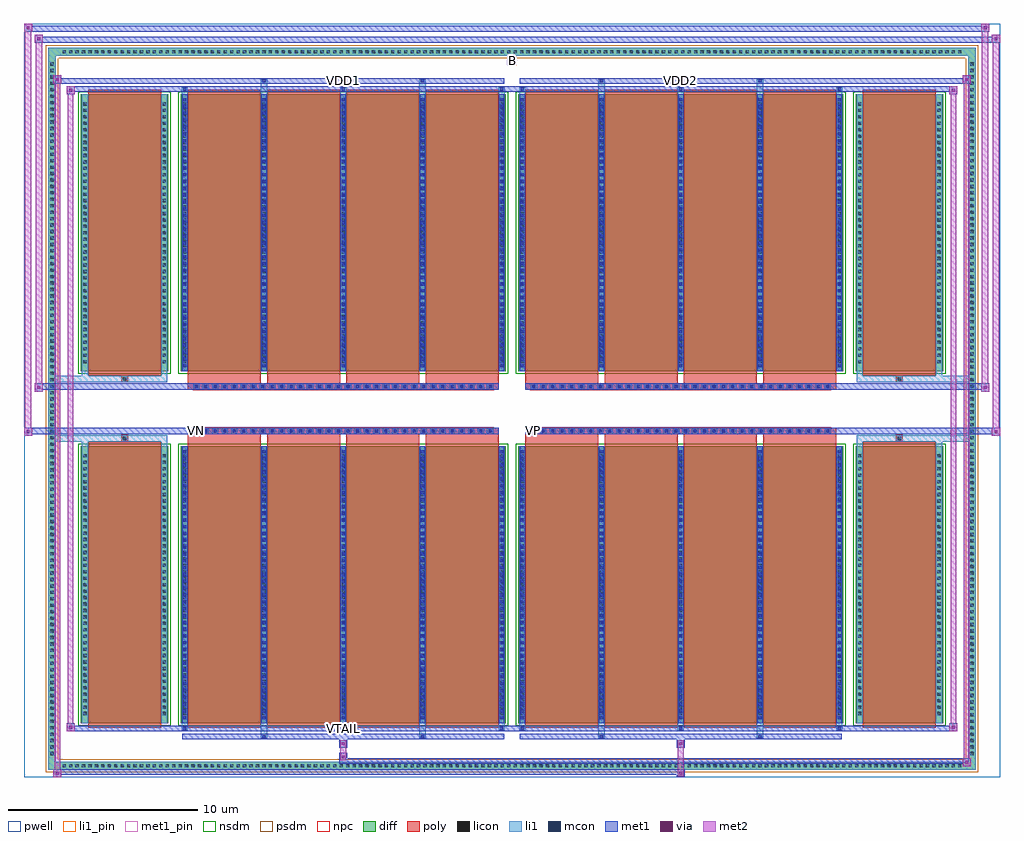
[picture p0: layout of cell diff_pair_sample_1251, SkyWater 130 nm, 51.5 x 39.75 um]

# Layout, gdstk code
import gdstk
lib = gdstk.Library(unit=1e-6, precision=5e-09)
def R(c, l, rs):  # rectangles x0, y0, x1, y1
    for r in rs: c.add(gdstk.rectangle(r[:2], r[2:], *l))
def A(c, l, x, y, w, h, nx, ny, dx, dy):  # array of equal rectangles
    R(c, l, [(x+i*dx, y+j*dy, x+i*dx+w, y+j*dy+h) for i in range(nx) for j in range(ny)])
def P(c, l, *ps):  # polygons
    for p in ps: c.add(gdstk.Polygon(p, *l))
pwell = (64, 44)
diff = (65, 20)
poly = (66, 20)
licon = (66, 44)
li1_pin = (67, 16)
li1 = (67, 20)
mcon = (67, 44)
met1_pin = (68, 16)
met1 = (68, 20)
via = (68, 44)
met2 = (69, 20)
nsdm = (93, 44)
psdm = (94, 20)
npc = (95, 20)

diff_pair_sample_1251 = lib.new_cell('diff_pair_sample_1251')
R(diff_pair_sample_1251, pwell, [(-25.75,-19.44,25.75,20.31), (-23.07,-17.63,-0.01,-0.805), (0.01,-17.63,23.07,-0.805), (-23.07,0.805,-0.01,17.63), (0.01,0.805,23.07,17.63)])
A(diff_pair_sample_1251, diff, -23.835, -19.04, 0.41, 0.41, 140, 2, 0.34, 37.67)
A(diff_pair_sample_1251, diff, -24.48, -18.395, 0.41, 0.41, 1, 108, 0, 0.34)
A(diff_pair_sample_1251, diff, 24.07, -18.395, 0.41, 0.41, 1, 108, 0, 0.34)
R(diff_pair_sample_1251, diff, [(-23.835,-19.04,23.835,-18.63), (-24.48,-18.395,-24.07,18.395), (24.07,-18.395,24.48,18.395), (-22.76,-16.585,-18.13,-1.985), (-17.49,-16.585,-0.32,-1.985), (0.32,-16.585,17.49,-1.985), (18.13,-16.585,22.76,-1.985), (-22.76,1.985,-18.13,16.585), (-17.49,1.985,-0.32,16.585), (0.32,1.985,17.49,16.585), (18.13,1.985,22.76,16.585), (-23.835,18.63,23.835,19.04)])
P(diff_pair_sample_1251, diff, [(24.48,19.04),(-24.48,19.04),(-24.48,-18.63),(-24.07,-18.63),(-24.07,18.63),(24.07,18.63),(24.07,-18.63),(-24.07,-18.63),(-24.48,-18.63),(-24.48,-19.04),(24.48,-19.04)])
A(diff_pair_sample_1251, poly, -17.1, -16.835, 3.85, 15.1, 4, 2, 4.18, 18.57)
A(diff_pair_sample_1251, poly, 0.71, -16.835, 3.85, 15.1, 4, 2, 4.18, 18.57)
A(diff_pair_sample_1251, poly, -17.1, -1.735, 3.85, 0.4, 4, 2, 4.18, 3.07)
A(diff_pair_sample_1251, poly, 0.71, -1.735, 3.85, 0.4, 4, 2, 4.18, 3.07)
A(diff_pair_sample_1251, poly, -16.82, -1.335, 0.33, 0.33, 32, 2, 0.5, 2.34)
A(diff_pair_sample_1251, poly, 0.99, -1.335, 0.33, 0.33, 32, 2, 0.5, 2.34)
R(diff_pair_sample_1251, poly, [(-22.37,-16.835,-18.52,-1.735), (18.52,-16.835,22.37,-1.735), (-20.61,-1.735,-20.28,-1.405), (-20.61,-1.735,-20.28,-1.405), (20.28,-1.735,20.61,-1.405), (20.28,-1.735,20.61,-1.405), (-17.1,-1.335,-0.71,-1.005), (0.71,-1.335,17.1,-1.005), (-17.1,1.005,-0.71,1.335), (0.71,1.005,17.1,1.335), (-20.61,1.405,-20.28,1.735), (-20.61,1.405,-20.28,1.735), (20.28,1.405,20.61,1.735), (20.28,1.405,20.61,1.735), (-22.37,1.735,-18.52,16.835), (18.52,1.735,22.37,16.835)])
A(diff_pair_sample_1251, licon, -23.715, -18.92, 0.17, 0.17, 140, 2, 0.34, 37.67)
A(diff_pair_sample_1251, licon, -24.36, -18.275, 0.17, 0.17, 1, 108, 0, 0.34)
A(diff_pair_sample_1251, licon, 24.19, -18.275, 0.17, 0.17, 1, 108, 0, 0.34)
A(diff_pair_sample_1251, licon, -22.62, -16.17, 0.17, 0.17, 1, 41, 0, 0.34)
A(diff_pair_sample_1251, licon, -18.44, -16.17, 0.17, 0.17, 1, 41, 0, 0.34)
A(diff_pair_sample_1251, licon, -17.35, -16.17, 0.17, 0.17, 5, 41, 4.18, 0.34)
A(diff_pair_sample_1251, licon, 0.46, -16.17, 0.17, 0.17, 5, 41, 4.18, 0.34)
A(diff_pair_sample_1251, licon, 18.27, -16.17, 0.17, 0.17, 1, 41, 0, 0.34)
A(diff_pair_sample_1251, licon, 22.45, -16.17, 0.17, 0.17, 1, 41, 0, 0.34)
A(diff_pair_sample_1251, licon, -16.74, -1.255, 0.17, 0.17, 32, 2, 0.5, 2.34)
A(diff_pair_sample_1251, licon, 1.07, -1.255, 0.17, 0.17, 32, 2, 0.5, 2.34)
A(diff_pair_sample_1251, licon, -22.62, 2.4, 0.17, 0.17, 1, 41, 0, 0.34)
A(diff_pair_sample_1251, licon, -18.44, 2.4, 0.17, 0.17, 1, 41, 0, 0.34)
A(diff_pair_sample_1251, licon, -17.35, 2.4, 0.17, 0.17, 5, 41, 4.18, 0.34)
A(diff_pair_sample_1251, licon, 0.46, 2.4, 0.17, 0.17, 5, 41, 4.18, 0.34)
A(diff_pair_sample_1251, licon, 18.27, 2.4, 0.17, 0.17, 1, 41, 0, 0.34)
A(diff_pair_sample_1251, licon, 22.45, 2.4, 0.17, 0.17, 1, 41, 0, 0.34)
R(diff_pair_sample_1251, licon, [(-20.53,-1.655,-20.36,-1.485), (20.36,-1.655,20.53,-1.485), (-20.53,1.485,-20.36,1.655), (20.36,1.485,20.53,1.655)])
R(diff_pair_sample_1251, li1_pin, [(-0.25,18.13,0.25,18.63)])
A(diff_pair_sample_1251, li1, -23.795, -19, 0.33, 0.33, 140, 2, 0.34, 37.67)
A(diff_pair_sample_1251, li1, -24.44, -18.355, 0.33, 0.33, 1, 108, 0, 0.34)
A(diff_pair_sample_1251, li1, 24.11, -18.355, 0.33, 0.33, 1, 108, 0, 0.34)
A(diff_pair_sample_1251, li1, -17.43, -16.96, 0.33, 0.375, 3, 2, 8.36, 33.545)
A(diff_pair_sample_1251, li1, -17.35, -16.96, 0.17, 0.17, 3, 2, 8.36, 33.75)
A(diff_pair_sample_1251, li1, 0.38, -16.96, 0.33, 0.375, 3, 2, 8.36, 33.545)
A(diff_pair_sample_1251, li1, 0.46, -16.96, 0.17, 0.17, 3, 2, 8.36, 33.75)
A(diff_pair_sample_1251, li1, -17.43, -16.585, 0.33, 14.6, 5, 2, 4.18, 18.57)
A(diff_pair_sample_1251, li1, 0.38, -16.585, 0.33, 14.6, 5, 2, 4.18, 18.57)
A(diff_pair_sample_1251, li1, -17.35, -16.39, 0.17, 0.17, 5, 40, 4.18, 0.36)
A(diff_pair_sample_1251, li1, -17.35, -16.39, 0.17, 14.21, 5, 2, 4.18, 18.57)
A(diff_pair_sample_1251, li1, 0.46, -16.39, 0.17, 0.17, 5, 40, 4.18, 0.36)
A(diff_pair_sample_1251, li1, 0.46, -16.39, 0.17, 14.21, 5, 2, 4.18, 18.57)
A(diff_pair_sample_1251, li1, -22.7, -16.25, 0.33, 0.33, 1, 41, 0, 0.34)
A(diff_pair_sample_1251, li1, -18.52, -16.25, 0.33, 0.33, 1, 41, 0, 0.34)
A(diff_pair_sample_1251, li1, -17.43, -16.25, 0.33, 0.33, 5, 41, 4.18, 0.34)
A(diff_pair_sample_1251, li1, 0.38, -16.25, 0.33, 0.33, 5, 41, 4.18, 0.34)
A(diff_pair_sample_1251, li1, 18.19, -16.25, 0.33, 0.33, 1, 41, 0, 0.34)
A(diff_pair_sample_1251, li1, 22.37, -16.25, 0.33, 0.33, 1, 41, 0, 0.34)
A(diff_pair_sample_1251, li1, -16.82, -1.335, 0.33, 0.33, 32, 2, 0.5, 2.34)
A(diff_pair_sample_1251, li1, 0.99, -1.335, 0.33, 0.33, 32, 2, 0.5, 2.34)
A(diff_pair_sample_1251, li1, -17.35, 2.18, 0.17, 0.17, 5, 40, 4.18, 0.36)
A(diff_pair_sample_1251, li1, 0.46, 2.18, 0.17, 0.17, 5, 40, 4.18, 0.36)
A(diff_pair_sample_1251, li1, -22.7, 2.32, 0.33, 0.33, 1, 41, 0, 0.34)
A(diff_pair_sample_1251, li1, -18.52, 2.32, 0.33, 0.33, 1, 41, 0, 0.34)
A(diff_pair_sample_1251, li1, -17.43, 2.32, 0.33, 0.33, 5, 41, 4.18, 0.34)
A(diff_pair_sample_1251, li1, 0.38, 2.32, 0.33, 0.33, 5, 41, 4.18, 0.34)
A(diff_pair_sample_1251, li1, 18.19, 2.32, 0.33, 0.33, 1, 41, 0, 0.34)
A(diff_pair_sample_1251, li1, 22.37, 2.32, 0.33, 0.33, 1, 41, 0, 0.34)
R(diff_pair_sample_1251, li1, [(-24.48,-19.04,-24.07,-18.63), (-24.48,-19.04,-24.07,-18.63), (-24.07,-19.04,24.07,-18.63), (24.07,-19.04,24.48,-18.63), (24.07,-19.04,24.48,-18.63), (-24.48,-18.63,-24.07,18.63), (24.07,-18.63,24.48,18.63), (-13.25,-17.39,-12.92,-16.585), (-13.17,-17.39,-13,-17.22), (-4.89,-17.39,-4.56,-16.585), (-4.81,-17.39,-4.64,-17.22), (4.56,-17.39,4.89,-16.585), (4.64,-17.39,4.81,-17.22), (12.92,-17.39,13.25,-16.585), (13,-17.39,13.17,-17.22), (-22.7,-16.585,-22.37,-1.985), (-18.52,-16.585,-18.19,-1.985), (18.19,-16.585,18.52,-1.985), (22.37,-16.585,22.7,-1.985), (-22.7,-1.985,-22.37,-1.405), (-18.52,-1.985,-18.19,-1.405), (18.19,-1.985,18.52,-1.405), (22.37,-1.985,22.7,-1.405), (-24.48,-1.735,-20.61,-1.405), (-22.7,-1.735,-20.61,-1.405), (-20.61,-1.735,-20.28,-1.405), (-20.28,-1.735,-18.19,-1.405), (18.19,-1.735,20.28,-1.405), (20.28,-1.735,20.61,-1.405), (20.28,-1.735,24.48,-1.405), (20.61,-1.735,22.7,-1.405), (-24.48,1.405,-20.61,1.735), (-22.7,1.405,-20.61,1.735), (-22.7,1.405,-22.37,1.985), (-20.61,1.405,-20.28,1.735), (-20.28,1.405,-18.19,1.735), (-18.52,1.405,-18.19,1.985), (18.19,1.405,20.28,1.735), (18.19,1.405,18.52,1.985), (20.28,1.405,20.61,1.735), (20.28,1.405,24.48,1.735), (20.61,1.405,22.7,1.735), (22.37,1.405,22.7,1.985), (-22.7,1.985,-22.37,16.585), (-18.52,1.985,-18.19,16.585), (18.19,1.985,18.52,16.585), (22.37,1.985,22.7,16.585), (-13.25,16.585,-12.92,17.39), (-4.89,16.585,-4.56,17.39), (4.56,16.585,4.89,17.39), (12.92,16.585,13.25,17.39), (-13.17,17.22,-13,17.39), (-4.81,17.22,-4.64,17.39), (4.64,17.22,4.81,17.39), (13,17.22,13.17,17.39), (-24.48,18.63,-24.07,19.04), (-24.48,18.63,-24.07,19.04), (-24.07,18.63,24.07,19.04), (24.07,18.63,24.48,19.04), (24.07,18.63,24.48,19.04)])
A(diff_pair_sample_1251, mcon, -17.35, -16.96, 0.17, 0.17, 3, 2, 8.36, 33.75)
A(diff_pair_sample_1251, mcon, 0.46, -16.96, 0.17, 0.17, 3, 2, 8.36, 33.75)
A(diff_pair_sample_1251, mcon, -17.35, -16.39, 0.17, 0.17, 5, 40, 4.18, 0.36)
A(diff_pair_sample_1251, mcon, 0.46, -16.39, 0.17, 0.17, 5, 40, 4.18, 0.36)
A(diff_pair_sample_1251, mcon, -16.74, -1.255, 0.17, 0.17, 32, 2, 0.5, 2.34)
A(diff_pair_sample_1251, mcon, 1.07, -1.255, 0.17, 0.17, 32, 2, 0.5, 2.34)
A(diff_pair_sample_1251, mcon, -17.35, 2.18, 0.17, 0.17, 5, 40, 4.18, 0.36)
A(diff_pair_sample_1251, mcon, 0.46, 2.18, 0.17, 0.17, 5, 40, 4.18, 0.36)
R(diff_pair_sample_1251, mcon, [(-13.17,-17.39,-13,-17.22), (-4.81,-17.39,-4.64,-17.22), (4.64,-17.39,4.81,-17.22), (13,-17.39,13.17,-17.22), (-13.17,17.22,-13,17.39), (-4.81,17.22,-4.64,17.39), (4.64,17.22,4.81,17.39), (13,17.22,13.17,17.39)])
R(diff_pair_sample_1251, met1_pin, [(-9.04,-17,-8.77,-16.73), (-16.79,-1.295,-16.52,-1.025), (1.02,-1.295,1.29,-1.025), (-9.04,17.18,-8.77,17.45), (8.77,17.18,9.04,17.45)])
A(diff_pair_sample_1251, met1, -17.41, -17.02, 0.29, 0.29, 3, 2, 8.36, 33.75)
A(diff_pair_sample_1251, met1, 0.4, -17.02, 0.29, 0.29, 3, 2, 8.36, 33.75)
A(diff_pair_sample_1251, met1, -17.41, -16.585, 0.29, 14.6, 5, 2, 4.18, 18.57)
A(diff_pair_sample_1251, met1, 0.4, -16.585, 0.29, 14.6, 5, 2, 4.18, 18.57)
A(diff_pair_sample_1251, met1, -17.41, -16.45, 0.29, 0.29, 5, 40, 4.18, 0.36)
A(diff_pair_sample_1251, met1, 0.4, -16.45, 0.29, 0.29, 5, 40, 4.18, 0.36)
A(diff_pair_sample_1251, met1, -16.8, -1.315, 0.29, 0.29, 32, 2, 0.5, 2.34)
A(diff_pair_sample_1251, met1, 1.01, -1.315, 0.29, 0.29, 32, 2, 0.5, 2.34)
A(diff_pair_sample_1251, met1, -17.41, 2.12, 0.29, 0.29, 5, 40, 4.18, 0.36)
A(diff_pair_sample_1251, met1, 0.4, 2.12, 0.29, 0.29, 5, 40, 4.18, 0.36)
R(diff_pair_sample_1251, met1, [(-24.21,-19.44,-23.78,-19.01), (8.69,-19.44,9.12,-19.01), (-24.21,-19.3,9.12,-19.01), (23.78,-18.87,24.21,-18.44), (-9.12,-18.73,24.21,-18.44), (-9.12,-18.59,-8.69,-18.16), (-9.12,-17.88,-8.69,-17.45), (8.69,-17.88,9.12,-17.45), (-17.41,-17.45,-0.4,-17.16), (-13.23,-17.45,-12.94,-17.16), (-4.87,-17.45,-4.58,-17.16), (0.4,-17.45,17.41,-17.16), (4.58,-17.45,4.87,-17.16), (12.94,-17.45,13.23,-17.16), (-23.5,-17.02,-23.07,-16.59), (-23.5,-17.02,-17.41,-16.73), (-17.41,-17.02,-0.4,-16.73), (-0.4,-17.02,0.4,-16.73), (0.4,-17.02,17.41,-16.73), (17.41,-17.02,23.5,-16.73), (23.07,-17.02,23.5,-16.59), (-25.75,-1.435,-25.32,-1.005), (25.32,-1.435,25.75,-1.005), (-25.75,-1.335,-0.71,-1.005), (-17.1,-1.335,-0.71,-1.005), (0.71,-1.335,17.1,-1.005), (0.71,-1.335,25.75,-1.005), (-25.18,0.905,-24.75,1.335), (24.75,0.905,25.18,1.335), (-25.18,1.005,-17.1,1.335), (-17.1,1.005,-0.71,1.335), (0.71,1.005,17.1,1.335), (17.1,1.005,25.18,1.335), (-23.5,16.59,-23.07,17.02), (23.07,16.59,23.5,17.02), (-23.5,16.73,-17.41,17.02), (-17.41,16.73,-0.4,17.02), (-0.4,16.73,0.4,17.02), (0.4,16.73,17.41,17.02), (17.41,16.73,23.5,17.02), (-24.21,17.16,-23.78,17.59), (-24.21,17.16,-17.41,17.45), (-17.41,17.16,-0.4,17.45), (-13.23,17.16,-12.94,17.45), (-4.87,17.16,-4.58,17.45), (0.4,17.16,17.41,17.45), (4.58,17.16,4.87,17.45), (12.94,17.16,13.23,17.45), (17.41,17.16,24.21,17.45), (23.78,17.16,24.21,17.59), (-25.18,19.31,-24.75,19.74), (-25.18,19.31,-23.07,19.64), (-23.07,19.31,23.07,19.64), (23.07,19.31,25.75,19.64), (25.32,19.31,25.75,19.74), (-25.75,19.88,-25.32,20.31), (-25.75,19.88,-23.07,20.21), (-23.07,19.88,23.07,20.21), (23.07,19.88,25.18,20.21), (24.75,19.88,25.18,20.31)])
R(diff_pair_sample_1251, via, [(-24.07,-19.3,-23.92,-19.15), (8.83,-19.3,8.98,-19.15), (23.92,-18.73,24.07,-18.58), (-8.98,-18.45,-8.83,-18.3), (-8.98,-17.74,-8.83,-17.59), (8.83,-17.74,8.98,-17.59), (-23.36,-16.88,-23.21,-16.73), (23.21,-16.88,23.36,-16.73), (-25.61,-1.295,-25.46,-1.145), (25.46,-1.295,25.61,-1.145), (-25.04,1.045,-24.89,1.195), (24.89,1.045,25.04,1.195), (-23.36,16.73,-23.21,16.88), (23.21,16.73,23.36,16.88), (-24.07,17.3,-23.92,17.45), (23.92,17.3,24.07,17.45), (-25.04,19.45,-24.89,19.6), (25.46,19.45,25.61,19.6), (-25.61,20.02,-25.46,20.17), (24.89,20.02,25.04,20.17)])
R(diff_pair_sample_1251, met2, [(-24.21,-19.44,-23.78,-19.01), (-24.14,-19.44,-23.85,17.59), (-23.85,-19.44,-23.78,-19.01), (-24.16,-19.39,-23.83,-19.06), (8.74,-19.39,9.07,-19.06), (8.74,-19.06,9.07,-17.83), (23.78,-18.87,24.21,-18.44), (23.85,-18.87,24.14,17.59), (24.14,-18.87,24.21,-18.44), (23.83,-18.82,24.16,-18.49), (-9.07,-18.54,-8.74,-18.21), (-9.07,-18.21,-8.74,-17.83), (-9.07,-17.83,-8.74,-17.5), (8.74,-17.83,9.07,-17.5), (-23.5,-17.02,-23.07,-16.59), (-23.43,-17.02,-23.14,17.02), (-23.14,-17.02,-23.07,-16.59), (23.07,-17.02,23.5,-16.59), (23.14,-17.02,23.43,17.02), (23.43,-17.02,23.5,-16.59), (-23.45,-16.97,-23.12,-16.64), (23.12,-16.97,23.45,-16.64), (-25.75,-1.435,-25.32,-1.005), (-25.7,-1.435,-25.37,20.31), (-25.37,-1.435,-25.32,-1.005), (25.32,-1.435,25.75,-1.005), (25.37,-1.435,25.7,19.74), (25.7,-1.435,25.75,-1.005), (-25.7,-1.385,-25.37,-1.055), (25.37,-1.385,25.7,-1.055), (-25.18,0.905,-24.75,1.335), (-25.13,0.905,-24.8,19.74), (-24.8,0.905,-24.75,1.335), (24.75,0.905,25.18,1.335), (24.8,0.905,25.13,20.31), (25.13,0.905,25.18,1.335), (-25.13,0.955,-24.8,1.285), (24.8,0.955,25.13,1.285), (-23.5,16.59,-23.07,17.02), (-23.14,16.59,-23.07,17.02), (23.07,16.59,23.5,17.02), (23.43,16.59,23.5,17.02), (-23.45,16.64,-23.12,16.97), (23.12,16.64,23.45,16.97), (-24.21,17.16,-23.78,17.59), (-23.85,17.16,-23.78,17.59), (23.78,17.16,24.21,17.59), (24.14,17.16,24.21,17.59), (-24.16,17.21,-23.83,17.54), (23.83,17.21,24.16,17.54), (-25.18,19.31,-24.75,19.74), (-24.8,19.31,-24.75,19.74), (25.32,19.31,25.75,19.74), (25.7,19.31,25.75,19.74), (-25.13,19.36,-24.8,19.69), (25.37,19.36,25.7,19.69), (-25.75,19.88,-25.32,20.31), (-25.37,19.88,-25.32,20.31), (24.75,19.88,25.18,20.31), (25.13,19.88,25.18,20.31), (-25.7,19.93,-25.37,20.26), (24.8,19.93,25.13,20.26)])
R(diff_pair_sample_1251, nsdm, [(-22.89,-16.715,-18,-1.855), (-17.62,-16.715,-0.19,-1.855), (0.19,-16.715,17.62,-1.855), (18,-16.715,22.89,-1.855), (-22.89,1.855,-18,16.715), (-17.62,1.855,-0.19,16.715), (0.19,1.855,17.62,16.715), (18,1.855,22.89,16.715)])
P(diff_pair_sample_1251, psdm, [(24.61,19.17),(-24.61,19.17),(-24.61,-18.5),(-23.94,-18.5),(-23.94,18.5),(23.94,18.5),(23.94,-18.5),(-23.94,-18.5),(-24.61,-18.5),(-24.61,-19.17),(24.61,-19.17)])
A(diff_pair_sample_1251, npc, -16.84, -1.355, 0.37, 0.37, 32, 2, 0.5, 2.34)
A(diff_pair_sample_1251, npc, 0.97, -1.355, 0.37, 0.37, 32, 2, 0.5, 2.34)
R(diff_pair_sample_1251, npc, [(-20.63,-1.755,-20.26,-1.385), (20.26,-1.755,20.63,-1.385), (-16.84,-1.355,-15.97,-0.985), (-16.84,-1.355,-15.97,-0.985), (-16.34,-1.355,-15.47,-0.985), (-16.34,-1.355,-15.47,-0.985), (-15.84,-1.355,-14.97,-0.985), (-15.84,-1.355,-14.97,-0.985), (-15.34,-1.355,-14.47,-0.985), (-15.34,-1.355,-14.47,-0.985), (-14.84,-1.355,-13.97,-0.985), (-14.84,-1.355,-13.97,-0.985), (-14.34,-1.355,-13.47,-0.985), (-14.34,-1.355,-13.47,-0.985), (-13.84,-1.355,-12.97,-0.985), (-13.84,-1.355,-12.97,-0.985), (-13.34,-1.355,-12.47,-0.985), (-13.34,-1.355,-12.47,-0.985), (-12.84,-1.355,-11.97,-0.985), (-12.84,-1.355,-11.97,-0.985), (-12.34,-1.355,-11.47,-0.985), (-12.34,-1.355,-11.47,-0.985), (-11.84,-1.355,-10.97,-0.985), (-11.84,-1.355,-10.97,-0.985), (-11.34,-1.355,-10.47,-0.985), (-11.34,-1.355,-10.47,-0.985), (-10.84,-1.355,-9.97,-0.985), (-10.84,-1.355,-9.97,-0.985), (-10.34,-1.355,-9.47,-0.985), (-10.34,-1.355,-9.47,-0.985), (-9.84,-1.355,-8.97,-0.985), (-9.84,-1.355,-8.97,-0.985), (-9.34,-1.355,-8.47,-0.985), (-9.34,-1.355,-8.47,-0.985), (-8.84,-1.355,-7.97,-0.985), (-8.84,-1.355,-7.97,-0.985), (-8.34,-1.355,-7.47,-0.985), (-8.34,-1.355,-7.47,-0.985), (-7.84,-1.355,-6.97,-0.985), (-7.84,-1.355,-6.97,-0.985), (-7.34,-1.355,-6.47,-0.985), (-7.34,-1.355,-6.47,-0.985), (-6.84,-1.355,-5.97,-0.985), (-6.84,-1.355,-5.97,-0.985), (-6.34,-1.355,-5.47,-0.985), (-6.34,-1.355,-5.47,-0.985), (-5.84,-1.355,-4.97,-0.985), (-5.84,-1.355,-4.97,-0.985), (-5.34,-1.355,-4.47,-0.985), (-5.34,-1.355,-4.47,-0.985), (-4.84,-1.355,-3.97,-0.985), (-4.84,-1.355,-3.97,-0.985), (-4.34,-1.355,-3.47,-0.985), (-4.34,-1.355,-3.47,-0.985), (-3.84,-1.355,-2.97,-0.985), (-3.84,-1.355,-2.97,-0.985), (-3.34,-1.355,-2.47,-0.985), (-3.34,-1.355,-2.47,-0.985), (-2.84,-1.355,-1.97,-0.985), (-2.84,-1.355,-1.97,-0.985), (-2.34,-1.355,-1.47,-0.985), (-2.34,-1.355,-1.47,-0.985), (-1.84,-1.355,-0.97,-0.985), (-1.84,-1.355,-0.97,-0.985), (0.97,-1.355,1.84,-0.985), (0.97,-1.355,1.84,-0.985), (1.47,-1.355,2.34,-0.985), (1.47,-1.355,2.34,-0.985), (1.97,-1.355,2.84,-0.985), (1.97,-1.355,2.84,-0.985), (2.47,-1.355,3.34,-0.985), (2.47,-1.355,3.34,-0.985), (2.97,-1.355,3.84,-0.985), (2.97,-1.355,3.84,-0.985), (3.47,-1.355,4.34,-0.985), (3.47,-1.355,4.34,-0.985), (3.97,-1.355,4.84,-0.985), (3.97,-1.355,4.84,-0.985), (4.47,-1.355,5.34,-0.985), (4.47,-1.355,5.34,-0.985), (4.97,-1.355,5.84,-0.985), (4.97,-1.355,5.84,-0.985), (5.47,-1.355,6.34,-0.985), (5.47,-1.355,6.34,-0.985), (5.97,-1.355,6.84,-0.985), (5.97,-1.355,6.84,-0.985), (6.47,-1.355,7.34,-0.985), (6.47,-1.355,7.34,-0.985), (6.97,-1.355,7.84,-0.985), (6.97,-1.355,7.84,-0.985), (7.47,-1.355,8.34,-0.985), (7.47,-1.355,8.34,-0.985), (7.97,-1.355,8.84,-0.985), (7.97,-1.355,8.84,-0.985), (8.47,-1.355,9.34,-0.985), (8.47,-1.355,9.34,-0.985), (8.97,-1.355,9.84,-0.985), (8.97,-1.355,9.84,-0.985), (9.47,-1.355,10.34,-0.985), (9.47,-1.355,10.34,-0.985), (9.97,-1.355,10.84,-0.985), (9.97,-1.355,10.84,-0.985), (10.47,-1.355,11.34,-0.985), (10.47,-1.355,11.34,-0.985), (10.97,-1.355,11.84,-0.985), (10.97,-1.355,11.84,-0.985), (11.47,-1.355,12.34,-0.985), (11.47,-1.355,12.34,-0.985), (11.97,-1.355,12.84,-0.985), (11.97,-1.355,12.84,-0.985), (12.47,-1.355,13.34,-0.985), (12.47,-1.355,13.34,-0.985), (12.97,-1.355,13.84,-0.985), (12.97,-1.355,13.84,-0.985), (13.47,-1.355,14.34,-0.985), (13.47,-1.355,14.34,-0.985), (13.97,-1.355,14.84,-0.985), (13.97,-1.355,14.84,-0.985), (14.47,-1.355,15.34,-0.985), (14.47,-1.355,15.34,-0.985), (14.97,-1.355,15.84,-0.985), (14.97,-1.355,15.84,-0.985), (15.47,-1.355,16.34,-0.985), (15.47,-1.355,16.34,-0.985), (15.97,-1.355,16.84,-0.985), (15.97,-1.355,16.84,-0.985), (-16.84,0.985,-15.97,1.355), (-16.84,0.985,-15.97,1.355), (-16.34,0.985,-15.47,1.355), (-16.34,0.985,-15.47,1.355), (-15.84,0.985,-14.97,1.355), (-15.84,0.985,-14.97,1.355), (-15.34,0.985,-14.47,1.355), (-15.34,0.985,-14.47,1.355), (-14.84,0.985,-13.97,1.355), (-14.84,0.985,-13.97,1.355), (-14.34,0.985,-13.47,1.355), (-14.34,0.985,-13.47,1.355), (-13.84,0.985,-12.97,1.355), (-13.84,0.985,-12.97,1.355), (-13.34,0.985,-12.47,1.355), (-13.34,0.985,-12.47,1.355), (-12.84,0.985,-11.97,1.355), (-12.84,0.985,-11.97,1.355), (-12.34,0.985,-11.47,1.355), (-12.34,0.985,-11.47,1.355), (-11.84,0.985,-10.97,1.355), (-11.84,0.985,-10.97,1.355), (-11.34,0.985,-10.47,1.355), (-11.34,0.985,-10.47,1.355), (-10.84,0.985,-9.97,1.355), (-10.84,0.985,-9.97,1.355), (-10.34,0.985,-9.47,1.355), (-10.34,0.985,-9.47,1.355), (-9.84,0.985,-8.97,1.355), (-9.84,0.985,-8.97,1.355), (-9.34,0.985,-8.47,1.355), (-9.34,0.985,-8.47,1.355), (-8.84,0.985,-7.97,1.355), (-8.84,0.985,-7.97,1.355), (-8.34,0.985,-7.47,1.355), (-8.34,0.985,-7.47,1.355), (-7.84,0.985,-6.97,1.355), (-7.84,0.985,-6.97,1.355), (-7.34,0.985,-6.47,1.355), (-7.34,0.985,-6.47,1.355), (-6.84,0.985,-5.97,1.355), (-6.84,0.985,-5.97,1.355), (-6.34,0.985,-5.47,1.355), (-6.34,0.985,-5.47,1.355), (-5.84,0.985,-4.97,1.355), (-5.84,0.985,-4.97,1.355), (-5.34,0.985,-4.47,1.355), (-5.34,0.985,-4.47,1.355), (-4.84,0.985,-3.97,1.355), (-4.84,0.985,-3.97,1.355), (-4.34,0.985,-3.47,1.355), (-4.34,0.985,-3.47,1.355), (-3.84,0.985,-2.97,1.355), (-3.84,0.985,-2.97,1.355), (-3.34,0.985,-2.47,1.355), (-3.34,0.985,-2.47,1.355), (-2.84,0.985,-1.97,1.355), (-2.84,0.985,-1.97,1.355), (-2.34,0.985,-1.47,1.355), (-2.34,0.985,-1.47,1.355), (-1.84,0.985,-0.97,1.355), (-1.84,0.985,-0.97,1.355), (0.97,0.985,1.84,1.355), (0.97,0.985,1.84,1.355), (1.47,0.985,2.34,1.355), (1.47,0.985,2.34,1.355), (1.97,0.985,2.84,1.355), (1.97,0.985,2.84,1.355), (2.47,0.985,3.34,1.355), (2.47,0.985,3.34,1.355), (2.97,0.985,3.84,1.355), (2.97,0.985,3.84,1.355), (3.47,0.985,4.34,1.355), (3.47,0.985,4.34,1.355), (3.97,0.985,4.84,1.355), (3.97,0.985,4.84,1.355), (4.47,0.985,5.34,1.355), (4.47,0.985,5.34,1.355), (4.97,0.985,5.84,1.355), (4.97,0.985,5.84,1.355), (5.47,0.985,6.34,1.355), (5.47,0.985,6.34,1.355), (5.97,0.985,6.84,1.355), (5.97,0.985,6.84,1.355), (6.47,0.985,7.34,1.355), (6.47,0.985,7.34,1.355), (6.97,0.985,7.84,1.355), (6.97,0.985,7.84,1.355), (7.47,0.985,8.34,1.355), (7.47,0.985,8.34,1.355), (7.97,0.985,8.84,1.355), (7.97,0.985,8.84,1.355), (8.47,0.985,9.34,1.355), (8.47,0.985,9.34,1.355), (8.97,0.985,9.84,1.355), (8.97,0.985,9.84,1.355), (9.47,0.985,10.34,1.355), (9.47,0.985,10.34,1.355), (9.97,0.985,10.84,1.355), (9.97,0.985,10.84,1.355), (10.47,0.985,11.34,1.355), (10.47,0.985,11.34,1.355), (10.97,0.985,11.84,1.355), (10.97,0.985,11.84,1.355), (11.47,0.985,12.34,1.355), (11.47,0.985,12.34,1.355), (11.97,0.985,12.84,1.355), (11.97,0.985,12.84,1.355), (12.47,0.985,13.34,1.355), (12.47,0.985,13.34,1.355), (12.97,0.985,13.84,1.355), (12.97,0.985,13.84,1.355), (13.47,0.985,14.34,1.355), (13.47,0.985,14.34,1.355), (13.97,0.985,14.84,1.355), (13.97,0.985,14.84,1.355), (14.47,0.985,15.34,1.355), (14.47,0.985,15.34,1.355), (14.97,0.985,15.84,1.355), (14.97,0.985,15.84,1.355), (15.47,0.985,16.34,1.355), (15.47,0.985,16.34,1.355), (15.97,0.985,16.84,1.355), (15.97,0.985,16.84,1.355), (-20.63,1.385,-20.26,1.755), (20.26,1.385,20.63,1.755)])
diff_pair_sample_1251.add(gdstk.Label('VTAIL', (-8.905,-16.865), layer=68, texttype=5))
diff_pair_sample_1251.add(gdstk.Label('VN', (-16.655,-1.16), layer=68, texttype=5))
diff_pair_sample_1251.add(gdstk.Label('VP', (1.155,-1.16), layer=68, texttype=5))
diff_pair_sample_1251.add(gdstk.Label('B', (0,18.38), layer=67, texttype=5))
diff_pair_sample_1251.add(gdstk.Label('VDD2', (8.905,17.315), layer=68, texttype=5))
diff_pair_sample_1251.add(gdstk.Label('VDD1', (-8.905,17.315), layer=68, texttype=5))

lib.write_gds('diff_pair_sample_1251.gds')
